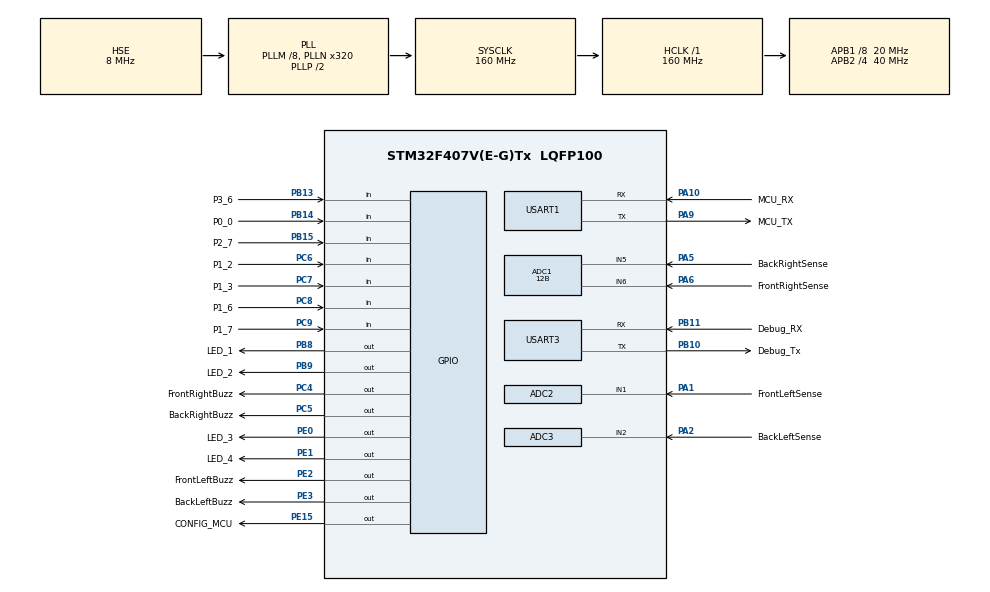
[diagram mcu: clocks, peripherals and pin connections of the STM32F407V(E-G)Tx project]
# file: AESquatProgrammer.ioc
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ADC1.Channel-16\#ChannelRegularConversion=ADC_CHANNEL_5
ADC1.Channel-17\#ChannelRegularConversion=ADC_CHANNEL_6
ADC1.ClockPrescaler=ADC_CLOCK_SYNC_PCLK_DIV8
ADC1.ContinuousConvMode=DISABLE
ADC1.DMAContinuousRequests=DISABLE
ADC1.DataAlign=ADC_DATAALIGN_RIGHT
ADC1.DiscontinuousConvMode=DISABLE
ADC1.EOCSelection=ADC_EOC_SINGLE_CONV
ADC1.EnableAnalogWatchDog=false
ADC1.ExternalTrigConv=ADC_SOFTWARE_START
ADC1.ExternalTrigConvEdge=ADC_EXTERNALTRIGCONVEDGE_NONE
ADC1.InjNumberOfConversion=0
ADC1.Mode=__NULL
ADC1.NbrOfConversion=2
ADC1.NbrOfConversionFlag=1
ADC1.Rank-16\#ChannelRegularConversion=1
ADC1.Rank-17\#ChannelRegularConversion=2
ADC1.Resolution=ADC_RESOLUTION_12B
ADC1.SamplingTime-16\#ChannelRegularConversion=ADC_SAMPLETIME_480CYCLES
ADC1.SamplingTime-17\#ChannelRegularConversion=ADC_SAMPLETIME_480CYCLES
ADC1.ScanConvMode=ENABLE
ADC1.master=1
ADC2.Channel-17\#ChannelRegularConversion=ADC_CHANNEL_1
ADC2.ClockPrescaler=ADC_CLOCK_SYNC_PCLK_DIV8
ADC2.EOCSelection=ADC_EOC_SEQ_CONV
ADC2.NbrOfConversionFlag=1
ADC2.Rank-17\#ChannelRegularConversion=1
ADC2.SamplingTime-17\#ChannelRegularConversion=ADC_SAMPLETIME_480CYCLES
ADC3.Channel-23\#ChannelRegularConversion=ADC_CHANNEL_2
ADC3.ClockPrescaler=ADC_CLOCK_SYNC_PCLK_DIV8
ADC3.EOCSelection=ADC_EOC_SEQ_CONV
ADC3.NbrOfConversionFlag=1
ADC3.Rank-23\#ChannelRegularConversion=1
ADC3.SamplingTime-23\#ChannelRegularConversion=ADC_SAMPLETIME_480CYCLES
Mcu.Family=STM32F4
Mcu.Name=STM32F407V(E-G)Tx
Mcu.Package=LQFP100
NVIC.ADC_IRQn=true\:0\:0\:true\:false\:true\:true
NVIC.PriorityGroup=NVIC_PRIORITYGROUP_4
NVIC.TIM1_UP_TIM10_IRQn=true\:0\:0\:false\:false\:true\:false
NVIC.TimeBase=TIM1_UP_TIM10_IRQn
NVIC.TimeBaseIP=TIM1
NVIC.USART1_IRQn=true\:0\:0\:false\:false\:true\:true
NVIC.USART3_IRQn=true\:0\:0\:false\:false\:true\:true
PA1.GPIO_Label=FrontLeftSense
PA1.Signal=ADCx_IN1
PA10.GPIO_Label=MCU_RX
PA10.Mode=Asynchronous
PA10.Signal=USART1_RX
PA13.GPIO_Label=SWDIO
PA13.Signal=SYS_JTMS-SWDIO
PA14.GPIO_Label=SWDCLK
PA14.Signal=SYS_JTCK-SWCLK
PA15.GPIO_Label=JTDI
PA15.Signal=SYS_JTDI
PA2.GPIO_Label=BackLeftSense
PA2.Signal=ADCx_IN2
PA5.GPIO_Label=BackRightSense
PA5.Signal=ADCx_IN5
PA6.GPIO_Label=FrontRightSense
PA6.Signal=ADCx_IN6
PA9.GPIO_Label=MCU_TX
PA9.Mode=Asynchronous
PA9.Signal=USART1_TX
PB10.GPIO_Label=Debug_Tx
PB10.Mode=Asynchronous
PB10.Signal=USART3_TX
PB11.GPIO_Label=Debug_RX
PB11.Mode=Asynchronous
PB11.Signal=USART3_RX
PB13.GPIO_Label=P3_6
PB13.Signal=GPIO_Input
PB14.GPIO_Label=P0_0
PB14.Signal=GPIO_Input
PB15.GPIO_Label=P2_7
PB15.Signal=GPIO_Input
PB3.GPIO_Label=SWO
PB3.Signal=SYS_JTDO-SWO
PB8.GPIO_Label=LED_1
PB8.Signal=GPIO_Output
PB9.GPIO_Label=LED_2
PB9.Signal=GPIO_Output
PC4.GPIO_Label=FrontRightBuzz
PC4.Signal=GPIO_Output
PC5.GPIO_Label=BackRightBuzz
PC5.GPIO_ModeDefaultOutputPP=GPIO_MODE_OUTPUT_PP
PC5.Signal=GPIO_Output
PC6.GPIO_Label=P1_2
PC6.GPIO_PuPd=GPIO_NOPULL
PC6.Signal=GPIO_Input
PC7.GPIO_Label=P1_3
PC7.Signal=GPIO_Input
PC8.GPIO_Label=P1_6
PC8.Signal=GPIO_Input
PC9.GPIO_Label=P1_7
PC9.Signal=GPIO_Input
PE0.GPIO_Label=LED_3
PE0.Signal=GPIO_Output
PE1.GPIO_Label=LED_4
PE1.Signal=GPIO_Output
PE15.GPIO_Label=CONFIG_MCU
PE15.Signal=GPIO_Output
PE2.GPIO_Label=FrontLeftBuzz
PE2.Signal=GPIO_Output
PE3.GPIO_Label=BackLeftBuzz
PE3.Signal=GPIO_Output
PH0-OSC_IN.Mode=HSE-External-Oscillator
PH0-OSC_IN.Signal=RCC_OSC_IN
PH1-OSC_OUT.Mode=HSE-External-Oscillator
PH1-OSC_OUT.Signal=RCC_OSC_OUT
ProjectManager.HeapSize=0x200
ProjectManager.StackSize=0x400
ProjectManager.TargetToolchain=SW4STM32
RCC.48MHZClocksFreq_Value=80000000
RCC.AHBFreq_Value=160000000
RCC.APB1CLKDivider=RCC_HCLK_DIV8
RCC.APB1Freq_Value=20000000
RCC.APB1TimFreq_Value=40000000
RCC.APB2CLKDivider=RCC_HCLK_DIV4
RCC.APB2Freq_Value=40000000
RCC.APB2TimFreq_Value=80000000
RCC.CortexFreq_Value=160000000
RCC.HCLKFreq_Value=160000000
RCC.HSE_VALUE=8000000
RCC.HSI_VALUE=16000000
RCC.LSE_VALUE=32768
RCC.PLLM=8
RCC.PLLN=320
RCC.PLLSourceVirtual=RCC_PLLSOURCE_HSE
RCC.SYSCLKFreq_VALUE=160000000
RCC.SYSCLKSource=RCC_SYSCLKSOURCE_PLLCLK
RCC.VCOOutputFreq_Value=320000000
SH.ADCx_IN1.0=ADC2_IN1,IN1
SH.ADCx_IN2.0=ADC3_IN2,IN2
SH.ADCx_IN5.0=ADC1_IN5,IN5
SH.ADCx_IN6.0=ADC1_IN6,IN6
USART1.VirtualMode=VM_ASYNC
USART3.VirtualMode=VM_ASYNC
VP_SYS_VS_tim1.Mode=TIM1
board=AESquatProgrammer

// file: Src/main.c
/**
  ******************************************************************************
  * @file           : main.c
  * @brief          : Main program body
  ******************************************************************************
  ** This notice applies to any and all portions of this file
  * that are not between comment pairs USER CODE BEGIN and
  * USER CODE END. Other portions of this file, whether
  * inserted by the user or by software development tools
  * are owned by their respective copyright owners.
  *
  * COPYRIGHT(c) 2018 STMicroelectronics
  *
  * Redistribution and use in source and binary forms, with or without modification,
  * are permitted provided that the following conditions are met:
  *   1. Redistributions of source code must retain the above copyright notice,
  *      this list of conditions and the following disclaimer.
  *   2. Redistributions in binary form must reproduce the above copyright notice,
  *      this list of conditions and the following disclaimer in the documentation
  *      and/or other materials provided with the distribution.
  *   3. Neither the name of STMicroelectronics nor the names of its contributors
  *      may be used to endorse or promote products derived from this software
  *      without specific prior written permission.
  *
  * THIS SOFTWARE IS PROVIDED BY THE COPYRIGHT HOLDERS AND CONTRIBUTORS "AS IS"
  * AND ANY EXPRESS OR IMPLIED WARRANTIES, INCLUDING, BUT NOT LIMITED TO, THE
  * IMPLIED WARRANTIES OF MERCHANTABILITY AND FITNESS FOR A PARTICULAR PURPOSE ARE
  * DISCLAIMED. IN NO EVENT SHALL THE COPYRIGHT HOLDER OR CONTRIBUTORS BE LIABLE
  * FOR ANY DIRECT, INDIRECT, INCIDENTAL, SPECIAL, EXEMPLARY, OR CONSEQUENTIAL
  * DAMAGES (INCLUDING, BUT NOT LIMITED TO, PROCUREMENT OF SUBSTITUTE GOODS OR
  * SERVICES; LOSS OF USE, DATA, OR PROFITS; OR BUSINESS INTERRUPTION) HOWEVER
  * CAUSED AND ON ANY THEORY OF LIABILITY, WHETHER IN CONTRACT, STRICT LIABILITY,
  * OR TORT (INCLUDING NEGLIGENCE OR OTHERWISE) ARISING IN ANY WAY OUT OF THE USE
  * OF THIS SOFTWARE, EVEN IF ADVISED OF THE POSSIBILITY OF SUCH DAMAGE.
  *
  ******************************************************************************
  */
#include "main.h"
#include "stm32f4xx_hal.h"

/* USER CODE BEGIN Includes */

#include "BalanceFSM.h"

/* USER CODE END Includes */

ADC_HandleTypeDef hadc1;
ADC_HandleTypeDef hadc2;
ADC_HandleTypeDef hadc3;

UART_HandleTypeDef huart1;
UART_HandleTypeDef huart3;

extern volatile uint8_t u8LeftFrontPercent;
extern volatile uint8_t u8LeftBackPercent;
extern volatile uint8_t u8RightFrontPercent;
extern volatile uint8_t u8RightBackPercent;

/* USER CODE BEGIN PV */
/* Private variables ---------------------------------------------------------*/

/* USER CODE END PV */

void SystemClock_Config(void);
static void MX_GPIO_Init(void);
static void MX_ADC1_Init(void);
static void MX_USART1_UART_Init(void);
static void MX_USART3_UART_Init(void);
static void MX_ADC2_Init(void);
static void MX_ADC3_Init(void);

/* USER CODE BEGIN PFP */
/* Private function prototypes -----------------------------------------------*/
/* USER CODE END PFP */

int main(void)
{

  /* MCU Configuration----------------------------------------------------------*/

  /* Reset of all peripherals, Initializes the Flash interface and the Systick. */
  HAL_Init();

  /* Configure the system clock */
  SystemClock_Config();

  /* Initialize all configured peripherals */
  MX_GPIO_Init();
  MX_ADC1_Init();
  MX_USART1_UART_Init();
  MX_USART3_UART_Init();
  MX_ADC2_Init();
  MX_ADC3_Init();
  /* USER CODE BEGIN 2 */

//  __HAL_UART_ENABLE_IT(&huart3,UART_IT_RXNE);

  uint8_t au8PercentagesArray[] = {
     's',
     'h',
     'w',
     ',',
     '0',
     '0',
     '7',
     '2',
     ',',
     '0',	// ((u8LeftFrontPercent/10 + 48)/10),
     '0',	// ((u8LeftFrontPercent/10 + 48)%10),
     '0',// ((u8LeftFrontPercent%10 + 48)/10),
     '0',	// ((u8LeftFrontPercent%10 + 48)%10),
     '0',// ((u8RightFrontPercent/10 + 48)/10),
     '0',// ((u8RightFrontPercent/10 + 48)%10),
     '0',// ((u8RightFrontPercent%10 + 48)%10),
     '0',// ((u8RightFrontPercent%10 + 48)/10),
     '0',	// ((u8RightBackPercent/10 + 48)/10),
     '0',		// ((u8RightBackPercent/10 + 48)%10),
     '0',	// ((u8RightBackPercent%10 + 48)/10),
     '0',	// ((u8RightBackPercent%10 + 48)%10),
     '0',	// ((u8LeftBackPercent/10 + 48)/10),
     '0',	// ((u8LeftBackPercent/10 + 48)%10),
     '0',	// ((u8LeftBackPercent%10 + 48)/10),
     '0',	// ((u8LeftBackPercent%10 + 48)%10),
     '0',
     '0',
  };

     uint8_t au8Carriage[] = {0x0D};
  /* USER CODE END 2 */

  /* Infinite loop */
  while (1)
  {

  /* USER CODE BEGIN 3 */
	  FSMStateController();
	  FSMInitializing();
	  FSMProcessData();
	  FSMProgramTermination();
	  FSMReadSensorData();
	  FSMWaitForAndroidAndWeight();
	  FSMSendBluetoothData();

     au8PercentagesArray[10] = (u8LeftFrontPercent/10 + 48);
     au8PercentagesArray[12] = (u8LeftFrontPercent%10 + 48);
     au8PercentagesArray[14] = (u8RightFrontPercent/10 + 48);
     au8PercentagesArray[16] = (u8RightFrontPercent%10 + 48);
     au8PercentagesArray[18] = (u8RightBackPercent/10 + 48);
     au8PercentagesArray[20] = (u8RightBackPercent%10 + 48);
     au8PercentagesArray[22] = (u8LeftBackPercent/10 + 48);
     au8PercentagesArray[24] = (u8LeftBackPercent%10 + 48);

   //Transmit the percentages
   HAL_UART_Transmit(&huart1, au8PercentagesArray, 27, 200);
   HAL_Delay(2);
   HAL_UART_Transmit(&huart1, au8Carriage, 1, 200);

   //Ensure that the message has been sent and a confirmation	HAL_ADC_Start_IT(&hadc1); has been received
   HAL_Delay(2);

	    /* USER CODE END 3 */

  }
  /* USER CODE END 3 */

}

void SystemClock_Config(void)
{

  RCC_OscInitTypeDef RCC_OscInitStruct;
  RCC_ClkInitTypeDef RCC_ClkInitStruct;

    /**Configure the main internal regulator output voltage
    */
  __HAL_RCC_PWR_CLK_ENABLE();

  __HAL_PWR_VOLTAGESCALING_CONFIG(PWR_REGULATOR_VOLTAGE_SCALE1);

    /**Initializes the CPU, AHB and APB busses clocks
    */
  RCC_OscInitStruct.OscillatorType = RCC_OSCILLATORTYPE_HSE;
  RCC_OscInitStruct.HSEState = RCC_HSE_ON;
  RCC_OscInitStruct.PLL.PLLState = RCC_PLL_ON;
  RCC_OscInitStruct.PLL.PLLSource = RCC_PLLSOURCE_HSE;
  RCC_OscInitStruct.PLL.PLLM = 8;
  RCC_OscInitStruct.PLL.PLLN = 320;
  RCC_OscInitStruct.PLL.PLLP = RCC_PLLP_DIV2;
  RCC_OscInitStruct.PLL.PLLQ = 4;
  if (HAL_RCC_OscConfig(&RCC_OscInitStruct) != HAL_OK)
  {
    _Error_Handler(__FILE__, __LINE__);
  }

    /**Initializes the CPU, AHB and APB busses clocks
    */
  RCC_ClkInitStruct.ClockType = RCC_CLOCKTYPE_HCLK|RCC_CLOCKTYPE_SYSCLK
                              |RCC_CLOCKTYPE_PCLK1|RCC_CLOCKTYPE_PCLK2;
  RCC_ClkInitStruct.SYSCLKSource = RCC_SYSCLKSOURCE_PLLCLK;
  RCC_ClkInitStruct.AHBCLKDivider = RCC_SYSCLK_DIV1;
  RCC_ClkInitStruct.APB1CLKDivider = RCC_HCLK_DIV8;
  RCC_ClkInitStruct.APB2CLKDivider = RCC_HCLK_DIV4;

  if (HAL_RCC_ClockConfig(&RCC_ClkInitStruct, FLASH_LATENCY_5) != HAL_OK)
  {
    _Error_Handler(__FILE__, __LINE__);
  }

    /**Configure the Systick interrupt time
    */
  HAL_SYSTICK_Config(HAL_RCC_GetHCLKFreq()/1000);

    /**Configure the Systick
    */
  HAL_SYSTICK_CLKSourceConfig(SYSTICK_CLKSOURCE_HCLK);

  /* SysTick_IRQn interrupt configuration */
  HAL_NVIC_SetPriority(SysTick_IRQn, 0, 0);
}

/* ADC1 init function */
static void MX_ADC1_Init(void)
{

  ADC_ChannelConfTypeDef sConfig;

    /**Configure the global features of the ADC (Clock, Resolution, Data Alignment and number of conversion)
    */
  hadc1.Instance = ADC1;
  hadc1.Init.ClockPrescaler = ADC_CLOCK_SYNC_PCLK_DIV8;
  hadc1.Init.Resolution = ADC_RESOLUTION_12B;
  hadc1.Init.ScanConvMode = ENABLE;
  hadc1.Init.ContinuousConvMode = DISABLE;
  hadc1.Init.DiscontinuousConvMode = DISABLE;
  hadc1.Init.ExternalTrigConvEdge = ADC_EXTERNALTRIGCONVEDGE_NONE;
  hadc1.Init.ExternalTrigConv = ADC_SOFTWARE_START;
  hadc1.Init.DataAlign = ADC_DATAALIGN_RIGHT;
  hadc1.Init.NbrOfConversion = 2;
  hadc1.Init.DMAContinuousRequests = DISABLE;
  hadc1.Init.EOCSelection = ADC_EOC_SINGLE_CONV;
  if (HAL_ADC_Init(&hadc1) != HAL_OK)
  {
    _Error_Handler(__FILE__, __LINE__);
  }

    /**Configure for the selected ADC regular channel its corresponding rank in the sequencer and its sample time.
    */
  sConfig.Channel = ADC_CHANNEL_5;
  sConfig.Rank = 1;
  sConfig.SamplingTime = ADC_SAMPLETIME_480CYCLES;
  if (HAL_ADC_ConfigChannel(&hadc1, &sConfig) != HAL_OK)
  {
    _Error_Handler(__FILE__, __LINE__);
  }

    /**Configure for the selected ADC regular channel its corresponding rank in the sequencer and its sample time.
    */
  sConfig.Channel = ADC_CHANNEL_6;
  sConfig.Rank = 2;
  if (HAL_ADC_ConfigChannel(&hadc1, &sConfig) != HAL_OK)
  {
    _Error_Handler(__FILE__, __LINE__);
  }

}

/* ADC2 init function */
static void MX_ADC2_Init(void)
{

  ADC_ChannelConfTypeDef sConfig;

    /**Configure the global features of the ADC (Clock, Resolution, Data Alignment and number of conversion)
    */
  hadc2.Instance = ADC2;
  hadc2.Init.ClockPrescaler = ADC_CLOCK_SYNC_PCLK_DIV8;
  hadc2.Init.Resolution = ADC_RESOLUTION_12B;
  hadc2.Init.ScanConvMode = DISABLE;
  hadc2.Init.ContinuousConvMode = DISABLE;
  hadc2.Init.DiscontinuousConvMode = DISABLE;
  hadc2.Init.ExternalTrigConvEdge = ADC_EXTERNALTRIGCONVEDGE_NONE;
  hadc2.Init.ExternalTrigConv = ADC_SOFTWARE_START;
  hadc2.Init.DataAlign = ADC_DATAALIGN_RIGHT;
  hadc2.Init.NbrOfConversion = 1;
  hadc2.Init.DMAContinuousRequests = DISABLE;
  hadc2.Init.EOCSelection = ADC_EOC_SEQ_CONV;
  if (HAL_ADC_Init(&hadc2) != HAL_OK)
  {
    _Error_Handler(__FILE__, __LINE__);
  }

    /**Configure for the selected ADC regular channel its corresponding rank in the sequencer and its sample time.
    */
  sConfig.Channel = ADC_CHANNEL_1;
  sConfig.Rank = 1;
  sConfig.SamplingTime = ADC_SAMPLETIME_480CYCLES;
  if (HAL_ADC_ConfigChannel(&hadc2, &sConfig) != HAL_OK)
  {
    _Error_Handler(__FILE__, __LINE__);
  }

}

/* ADC3 init function */
static void MX_ADC3_Init(void)
{

  ADC_ChannelConfTypeDef sConfig;

    /**Configure the global features of the ADC (Clock, Resolution, Data Alignment and number of conversion)
    */
  hadc3.Instance = ADC3;
  hadc3.Init.ClockPrescaler = ADC_CLOCK_SYNC_PCLK_DIV8;
  hadc3.Init.Resolution = ADC_RESOLUTION_12B;
  hadc3.Init.ScanConvMode = DISABLE;
  hadc3.Init.ContinuousConvMode = DISABLE;
  hadc3.Init.DiscontinuousConvMode = DISABLE;
  hadc3.Init.ExternalTrigConvEdge = ADC_EXTERNALTRIGCONVEDGE_NONE;
  hadc3.Init.ExternalTrigConv = ADC_SOFTWARE_START;
  hadc3.Init.DataAlign = ADC_DATAALIGN_RIGHT;
  hadc3.Init.NbrOfConversion = 1;
  hadc3.Init.DMAContinuousRequests = DISABLE;
  hadc3.Init.EOCSelection = ADC_EOC_SEQ_CONV;
  if (HAL_ADC_Init(&hadc3) != HAL_OK)
  {
    _Error_Handler(__FILE__, __LINE__);
  }

    /**Configure for the selected ADC regular channel its corresponding rank in the sequencer and its sample time.
    */
  sConfig.Channel = ADC_CHANNEL_2;
  sConfig.Rank = 1;
  sConfig.SamplingTime = ADC_SAMPLETIME_480CYCLES;
  if (HAL_ADC_ConfigChannel(&hadc3, &sConfig) != HAL_OK)
  {
    _Error_Handler(__FILE__, __LINE__);
  }

}

/* USART1 init function */
static void MX_USART1_UART_Init(void)
{

  huart1.Instance = USART1;
  huart1.Init.BaudRate = 115200;
  huart1.Init.WordLength = UART_WORDLENGTH_8B;
  huart1.Init.StopBits = UART_STOPBITS_1;
  huart1.Init.Parity = UART_PARITY_NONE;
  huart1.Init.Mode = UART_MODE_TX_RX;
  huart1.Init.HwFlowCtl = UART_HWCONTROL_NONE;
  huart1.Init.OverSampling = UART_OVERSAMPLING_16;
  if (HAL_UART_Init(&huart1) != HAL_OK)
  {
    _Error_Handler(__FILE__, __LINE__);
  }

}

/* USART3 init function */
static void MX_USART3_UART_Init(void)
{

  huart3.Instance = USART3;
  huart3.Init.BaudRate = 115200;
  huart3.Init.WordLength = UART_WORDLENGTH_8B;
  huart3.Init.StopBits = UART_STOPBITS_1;
  huart3.Init.Parity = UART_PARITY_NONE;
  huart3.Init.Mode = UART_MODE_TX_RX;
  huart3.Init.HwFlowCtl = UART_HWCONTROL_NONE;
  huart3.Init.OverSampling = UART_OVERSAMPLING_16;
  if (HAL_UART_Init(&huart3) != HAL_OK)
  {
    _Error_Handler(__FILE__, __LINE__);
  }

}

/** Configure pins as
        * Analog
        * Input
        * Output
        * EVENT_OUT
        * EXTI
*/
static void MX_GPIO_Init(void)
{

  GPIO_InitTypeDef GPIO_InitStruct;

  /* GPIO Ports Clock Enable */
  __HAL_RCC_GPIOE_CLK_ENABLE();
  __HAL_RCC_GPIOH_CLK_ENABLE();
  __HAL_RCC_GPIOA_CLK_ENABLE();
  __HAL_RCC_GPIOC_CLK_ENABLE();
  __HAL_RCC_GPIOB_CLK_ENABLE();

  /*Configure GPIO pin Output Level */
  HAL_GPIO_WritePin(GPIOE, FrontLeftBuzz_Pin|BackLeftBuzz_Pin|CONFIG_MCU_Pin|LED_3_Pin
                          |LED_4_Pin, GPIO_PIN_RESET);

  /*Configure GPIO pin Output Level */
  HAL_GPIO_WritePin(GPIOC, FrontRightBuzz_Pin|BackRightBuzz_Pin, GPIO_PIN_RESET);

  /*Configure GPIO pin Output Level */
  HAL_GPIO_WritePin(GPIOB, LED_1_Pin|LED_2_Pin, GPIO_PIN_RESET);

  /*Configure GPIO pins : FrontLeftBuzz_Pin BackLeftBuzz_Pin CONFIG_MCU_Pin LED_3_Pin
                           LED_4_Pin */
  GPIO_InitStruct.Pin = FrontLeftBuzz_Pin|BackLeftBuzz_Pin|CONFIG_MCU_Pin|LED_3_Pin
                          |LED_4_Pin;
  GPIO_InitStruct.Mode = GPIO_MODE_OUTPUT_PP;
  GPIO_InitStruct.Pull = GPIO_NOPULL;
  GPIO_InitStruct.Speed = GPIO_SPEED_FREQ_LOW;
  HAL_GPIO_Init(GPIOE, &GPIO_InitStruct);

  /*Configure GPIO pins : FrontRightBuzz_Pin BackRightBuzz_Pin */
  GPIO_InitStruct.Pin = FrontRightBuzz_Pin|BackRightBuzz_Pin;
  GPIO_InitStruct.Mode = GPIO_MODE_OUTPUT_PP;
  GPIO_InitStruct.Pull = GPIO_NOPULL;
  GPIO_InitStruct.Speed = GPIO_SPEED_FREQ_LOW;
  HAL_GPIO_Init(GPIOC, &GPIO_InitStruct);

  /*Configure GPIO pins : P3_6_Pin P0_0_Pin P2_7_Pin */
  GPIO_InitStruct.Pin = P3_6_Pin|P0_0_Pin|P2_7_Pin;
  GPIO_InitStruct.Mode = GPIO_MODE_INPUT;
  GPIO_InitStruct.Pull = GPIO_NOPULL;
  HAL_GPIO_Init(GPIOB, &GPIO_InitStruct);

  /*Configure GPIO pins : P1_2_Pin P1_3_Pin P1_6_Pin P1_7_Pin */
  GPIO_InitStruct.Pin = P1_2_Pin|P1_3_Pin|P1_6_Pin|P1_7_Pin;
  GPIO_InitStruct.Mode = GPIO_MODE_INPUT;
  GPIO_InitStruct.Pull = GPIO_NOPULL;
  HAL_GPIO_Init(GPIOC, &GPIO_InitStruct);

  /*Configure GPIO pins : LED_1_Pin LED_2_Pin */
  GPIO_InitStruct.Pin = LED_1_Pin|LED_2_Pin;
  GPIO_InitStruct.Mode = GPIO_MODE_OUTPUT_PP;
  GPIO_InitStruct.Pull = GPIO_NOPULL;
  GPIO_InitStruct.Speed = GPIO_SPEED_FREQ_LOW;
  HAL_GPIO_Init(GPIOB, &GPIO_InitStruct);

}

void HAL_TIM_PeriodElapsedCallback(TIM_HandleTypeDef *htim)
{
  if (htim->Instance == TIM1) {
    HAL_IncTick();
  }
}

void _Error_Handler(char *file, int line)
{
  while(1)
  {
  }
}

/************************ (C) COPYRIGHT STMicroelectronics *****END OF FILE****/
